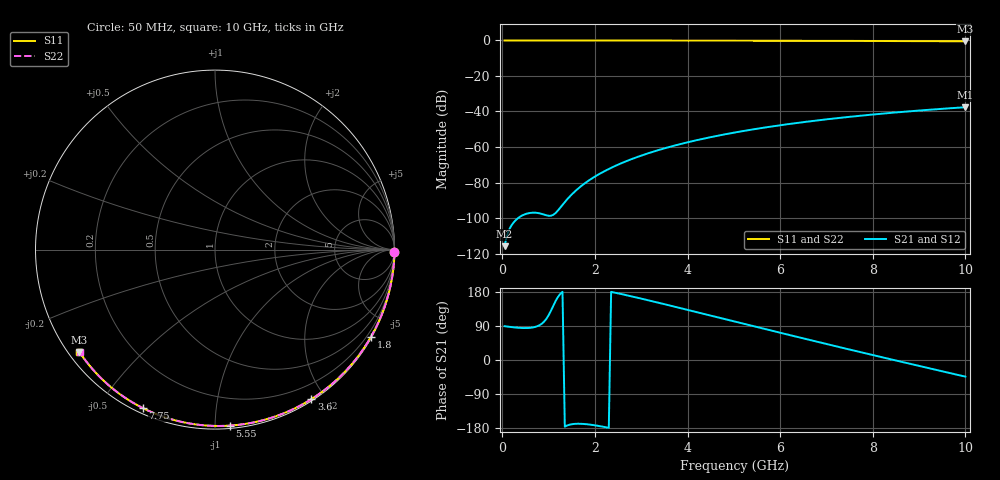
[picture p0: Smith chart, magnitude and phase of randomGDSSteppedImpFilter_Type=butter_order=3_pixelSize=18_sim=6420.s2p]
! freq	dB(S11)	phase(S11)	dB(S12)	phase(S12)
!  dB(S21)	phase(S21)	dB(S22)	phase(S22)
!S-par simulation data
#  GHz  S  DB  R 50
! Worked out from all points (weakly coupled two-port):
!   200 points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, 50 MHz to 10 GHz, reference 50 ohm
!   highest |S21| = -37.59 dB at 10 GHz (marker M1); lowest = -115.8 dB at 50 MHz (marker M2)
!   lowest |S11| = -0.5 dB at 10 GHz (marker M3), VSWR 36.31, Z = 1.53 - j16.7 ohm
!   |S11| at or under -10 dB: nowhere
!   |S22| runs from -0.5 to 0.0 dB; largest |S21 - S12| = 0
!   S11 on the Smith chart (normalised r, x): 50 MHz: open; 1.8 GHz: 0.03, -3.82; 3.6 GHz: 0.02, -1.83; 5.55 GHz: 0.02, -1.09; 7.75 GHz: 0.02, -0.64; 10 GHz: 0.03, -0.33
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0.05  -0.00 -0.8  -115.84 89.2  -115.84 89.2  -0.00 -0.8
0.45  -0.01 -7.4  -98.29 84.4  -98.29 84.4  -0.01 -7.4
0.9  -0.02 -14.8  -98.04 100.9  -98.04 100.9  -0.02 -14.8
1.75  -0.04 -28.5  -81.05 -168.7  -81.05 -168.7  -0.04 -28.5
1.8  -0.04 -29.3  -80.08 -169.2  -80.08 -169.2  -0.04 -29.3
2  -0.04 -32.5  -76.64 -172.3  -76.64 -172.3  -0.04 -32.5
2.15  -0.04 -34.9  -74.40 -175.5  -74.40 -175.5  -0.04 -34.9
2.35  -0.05 -38.0  -71.73 179.8  -71.73 179.8  -0.05 -38.0
2.55  -0.05 -41.2  -69.36 174.6  -69.36 174.6  -0.05 -41.1
2.95  -0.06 -47.4  -65.30 163.4  -65.30 163.4  -0.06 -47.3
3.4  -0.07 -54.2  -61.51 150.3  -61.51 150.3  -0.07 -54.2
3.6  -0.08 -57.2  -60.03 144.3  -60.03 144.3  -0.08 -57.2
4.3  -0.10 -67.6  -55.56 123.2  -55.56 123.2  -0.10 -67.5
5.05  -0.12 -78.3  -51.69 100.5  -51.69 100.5  -0.12 -78.3
5.55  -0.14 -85.3  -49.51 85.4  -49.51 85.4  -0.14 -85.3
6.1  -0.16 -92.8  -47.38 68.9  -47.38 68.9  -0.16 -92.8
6.7  -0.19 -100.8  -45.35 51.1  -45.35 51.1  -0.19 -100.8
7.2  -0.22 -107.4  -43.84 36.3  -43.84 36.3  -0.22 -107.3
7.75  -0.26 -114.5  -42.34 20.3  -42.34 20.3  -0.26 -114.4
8.35  -0.31 -122.1  -40.87 3.0  -40.87 3.0  -0.31 -122.1
9.2  -0.39 -132.8  -39.06 -21.3  -39.06 -21.3  -0.39 -132.8
10  -0.48 -142.9  -37.59 -43.9  -37.59 -43.9  -0.48 -142.9
